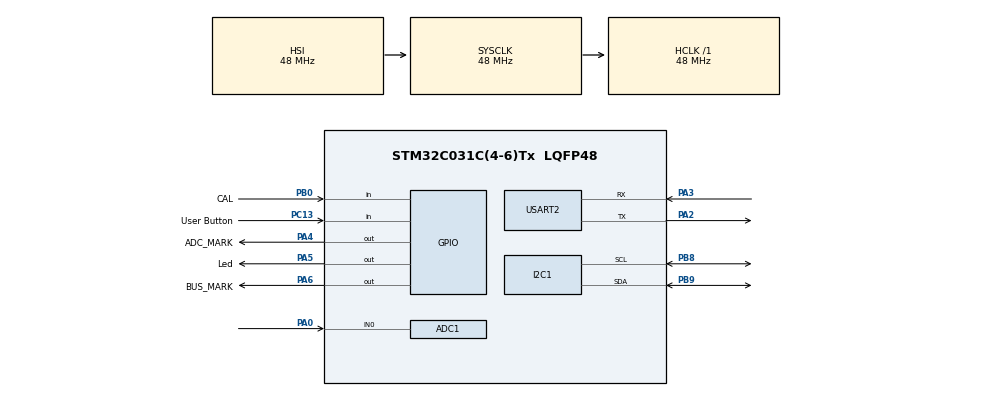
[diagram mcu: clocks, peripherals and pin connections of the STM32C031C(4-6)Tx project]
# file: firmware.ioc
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I2C1.Timing=0x20303E5D
Mcu.Family=STM32C0
Mcu.Name=STM32C031C(4-6)Tx
Mcu.Package=LQFP48
NVIC.EXTI4_15_IRQn=false\:0\:0\:false\:false\:true\:true\:true\:true
PA13.Mode=Serial_Wire
PA13.Signal=DEBUG_SWDIO
PA14-BOOT0.Mode=Serial_Wire
PA14-BOOT0.Signal=DEBUG_SWCLK
PA2.Mode=Asynchronous
PA2.Signal=USART2_TX
PA3.GPIO_PuPd=GPIO_PULLUP
PA3.Mode=Asynchronous
PA3.Signal=USART2_RX
PA5.GPIO_Label=Led
PA5.GPIO_Speed=GPIO_SPEED_FREQ_VERY_HIGH
PA5.PinState=GPIO_PIN_SET
PA5.Signal=GPIO_Output
PB8.Mode=I2C
PB8.Signal=I2C1_SCL
PB9.Mode=I2C
PB9.Signal=I2C1_SDA
PC13.GPIO_Label=User Button
PC13.Signal=GPIO_Input
PC14-OSCX_IN\ (PC14).Mode=LSE-External-Oscillator
PC14-OSCX_IN\ (PC14).Signal=RCC_OSCX_IN
PC15-OSCX_OUT\ (PC15).Mode=LSE-External-Oscillator
PC15-OSCX_OUT\ (PC15).Signal=RCC_OSCX_OUT
PF0-OSC_IN\ (PF0).Mode=HSE-External-Oscillator
PF0-OSC_IN\ (PF0).Signal=RCC_OSC_IN
PF1-OSC_OUT\ (PF1).Mode=HSE-External-Oscillator
PF1-OSC_OUT\ (PF1).Signal=RCC_OSC_OUT
ProjectManager.HeapSize=0x200
ProjectManager.StackSize=0x400
ProjectManager.TargetToolchain=Makefile
RCC.ADCFreq_Value=48000000
RCC.AHBFreq_Value=48000000
RCC.CortexFreq_Value=48000000
RCC.EXTERNAL_CLOCK_VALUE=12288000
RCC.HCLKFreq_Value=48000000
RCC.HSE_VALUE=48000000
RCC.HSISYSCLKDivider=RCC_HSI_DIV1
RCC.HSI_VALUE=48000000
RCC.SYSCLKFreq_VALUE=48000000
USART2.VirtualMode-Asynchronous=VM_ASYNC
board=NUCLEO-C031C6
PA0.Mode=IN0
PA0.Signal=ADC1_IN0
ADC1.Resolution=ADC_RESOLUTION_12B
ADC1.ClockPrescaler=ADC_CLOCK_SYNC_PCLK_DIV4
ADC1.SamplingTimeCommon1=ADC_SAMPLETIME_79CYCLES_5
PB0.Signal=GPIO_Input
PB0.GPIO_PuPd=GPIO_PULLUP
PB0.GPIO_Label=CAL
PA4.Signal=GPIO_Output
PA4.GPIO_Label=ADC_MARK
PA6.Signal=GPIO_Output
PA6.GPIO_Label=BUS_MARK
NVIC.I2C1_IRQn=true\:1\:0\:false\:false\:true\:true\:true\:true
NVIC.USART2_IRQn=true\:2\:0\:false\:false\:true\:true\:true\:true
ADC1.ScanConvMode=ADC_SCAN_SEQ_FIXED
ADC1.NbrOfConversion=1
ADC1.SamplingTimeCommon2=ADC_SAMPLETIME_79CYCLES_5

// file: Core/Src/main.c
/* USER CODE BEGIN Header */
/**
  ******************************************************************************
  * @file           : main.c
  * @brief          : Main program body
  ******************************************************************************
  * @attention
  *
  * Copyright (c) 2023 STMicroelectronics.
  * All rights reserved.
  *
  * This software is licensed under terms that can be found in the LICENSE file
  * in the root directory of this software component.
  * If no LICENSE file comes with this software, it is provided AS-IS.
  *
  ******************************************************************************
  */
/* USER CODE END Header */
#include "main.h"

/* USER CODE BEGIN Includes */

#include "board.h"
#include "perf.h"

/* USER CODE END Includes */

ADC_HandleTypeDef hadc1;
I2C_HandleTypeDef hi2c1;

UART_HandleTypeDef huart2;

void SystemClock_Config(void);
static void MX_GPIO_Init(void);
static void MX_ADC1_Init(void);
static void MX_I2C1_Init(void);
static void MX_USART2_UART_Init(void);

int main(void)
{
  /* USER CODE BEGIN 1 */
  bench_stack_paint();
  /* USER CODE END 1 */

  /* MCU Configuration--------------------------------------------------------*/

  /* Reset of all peripherals, Initializes the Flash interface and the Systick. */
  HAL_Init();

  /* Configure the system clock */
  SystemClock_Config();

  /* Initialize all configured peripherals */
  MX_GPIO_Init();
  MX_I2C1_Init();
  MX_USART2_UART_Init();
  MX_ADC1_Init();
  /* USER CODE BEGIN 2 */

  bench_init();

  /* USER CODE END 2 */

  /* Infinite loop */
  while (1)
  {

    /* USER CODE BEGIN 3 */
    bench_step();
    /* Busy polling is intentional; CPU load is unavailable in this candidate. */
  }
  /* USER CODE END 3 */
}

void SystemClock_Config(void)
{
  RCC_OscInitTypeDef RCC_OscInitStruct = {0};
  RCC_ClkInitTypeDef RCC_ClkInitStruct = {0};

  /** Initializes the RCC Oscillators according to the specified parameters
  * in the RCC_OscInitTypeDef structure.
  */
  RCC_OscInitStruct.OscillatorType = RCC_OSCILLATORTYPE_HSI;
  RCC_OscInitStruct.HSIState = RCC_HSI_ON;
  RCC_OscInitStruct.HSIDiv = RCC_HSI_DIV1;
  RCC_OscInitStruct.HSICalibrationValue = RCC_HSICALIBRATION_DEFAULT;
  if (HAL_RCC_OscConfig(&RCC_OscInitStruct) != HAL_OK)
  {
    Error_Handler();
  }

  /** Initializes the CPU, AHB and APB buses clocks
  */
  RCC_ClkInitStruct.ClockType = RCC_CLOCKTYPE_HCLK|RCC_CLOCKTYPE_SYSCLK
                              |RCC_CLOCKTYPE_PCLK1;
  RCC_ClkInitStruct.SYSCLKSource = RCC_SYSCLKSOURCE_HSI;
  RCC_ClkInitStruct.SYSCLKDivider = RCC_SYSCLK_DIV1;
  RCC_ClkInitStruct.AHBCLKDivider = RCC_HCLK_DIV1;
  RCC_ClkInitStruct.APB1CLKDivider = RCC_APB1_DIV1;

  if (HAL_RCC_ClockConfig(&RCC_ClkInitStruct, FLASH_LATENCY_1) != HAL_OK)
  {
    Error_Handler();
  }
}

static void MX_I2C1_Init(void)
{

  hi2c1.Instance = I2C1;
  hi2c1.Init.Timing = 0x20303E5D;
  hi2c1.Init.OwnAddress1 = 0;
  hi2c1.Init.AddressingMode = I2C_ADDRESSINGMODE_7BIT;
  hi2c1.Init.DualAddressMode = I2C_DUALADDRESS_DISABLE;
  hi2c1.Init.OwnAddress2 = 0;
  hi2c1.Init.OwnAddress2Masks = I2C_OA2_NOMASK;
  hi2c1.Init.GeneralCallMode = I2C_GENERALCALL_DISABLE;
  hi2c1.Init.NoStretchMode = I2C_NOSTRETCH_DISABLE;
  if (HAL_I2C_Init(&hi2c1) != HAL_OK)
  {
    Error_Handler();
  }

  /** Configure Analogue filter
  */
  if (HAL_I2CEx_ConfigAnalogFilter(&hi2c1, I2C_ANALOGFILTER_ENABLE) != HAL_OK)
  {
    Error_Handler();
  }

  /** Configure Digital filter
  */
  if (HAL_I2CEx_ConfigDigitalFilter(&hi2c1, 0) != HAL_OK)
  {
    Error_Handler();
  }

}

static void MX_USART2_UART_Init(void)
{

  huart2.Instance = USART2;
  huart2.Init.BaudRate = 115200;
  huart2.Init.WordLength = UART_WORDLENGTH_8B;
  huart2.Init.StopBits = UART_STOPBITS_1;
  huart2.Init.Parity = UART_PARITY_NONE;
  huart2.Init.Mode = UART_MODE_TX_RX;
  huart2.Init.HwFlowCtl = UART_HWCONTROL_NONE;
  huart2.Init.OverSampling = UART_OVERSAMPLING_16;
  huart2.Init.OneBitSampling = UART_ONE_BIT_SAMPLE_DISABLE;
  huart2.Init.ClockPrescaler = UART_PRESCALER_DIV1;
  huart2.AdvancedInit.AdvFeatureInit = UART_ADVFEATURE_NO_INIT;
  if (HAL_UART_Init(&huart2) != HAL_OK)
  {
    Error_Handler();
  }

}

static void MX_GPIO_Init(void)
{
  GPIO_InitTypeDef GPIO_InitStruct = {0};

  /* GPIO Ports Clock Enable */
  __HAL_RCC_GPIOC_CLK_ENABLE();
  __HAL_RCC_GPIOF_CLK_ENABLE();
  __HAL_RCC_GPIOA_CLK_ENABLE();
  __HAL_RCC_GPIOB_CLK_ENABLE();

  /*Configure GPIO pin Output Level */
  HAL_GPIO_WritePin(Led_GPIO_Port, Led_Pin, GPIO_PIN_SET);

  /*Configure GPIO pin : User_Button_Pin */
  GPIO_InitStruct.Pin = User_Button_Pin;
  GPIO_InitStruct.Mode = GPIO_MODE_INPUT;
  GPIO_InitStruct.Pull = GPIO_NOPULL;
  HAL_GPIO_Init(User_Button_GPIO_Port, &GPIO_InitStruct);

  /*Configure GPIO pin : Led_Pin */
  GPIO_InitStruct.Pin = Led_Pin;
  GPIO_InitStruct.Mode = GPIO_MODE_OUTPUT_PP;
  GPIO_InitStruct.Pull = GPIO_NOPULL;
  GPIO_InitStruct.Speed = GPIO_SPEED_FREQ_VERY_HIGH;
  HAL_GPIO_Init(Led_GPIO_Port, &GPIO_InitStruct);

  /* EXTI interrupt init*/

/* USER CODE BEGIN MX_GPIO_Init_2 */
  GPIO_InitStruct.Pin = CAL_PIN;
  GPIO_InitStruct.Mode = GPIO_MODE_INPUT;
  GPIO_InitStruct.Pull = GPIO_PULLUP;
  HAL_GPIO_Init(CAL_PORT, &GPIO_InitStruct);
  GPIO_InitStruct.Pin = ADC_MARK_PIN | BUS_MARK_PIN;
  GPIO_InitStruct.Mode = GPIO_MODE_OUTPUT_PP;
  GPIO_InitStruct.Pull = GPIO_NOPULL;
  GPIO_InitStruct.Speed = GPIO_SPEED_FREQ_LOW;
  HAL_GPIO_Init(GPIOA, &GPIO_InitStruct);
/* USER CODE END MX_GPIO_Init_2 */
}

/* USER CODE BEGIN ADC1_Init */
static void MX_ADC1_Init(void)
{
  ADC_ChannelConfTypeDef channel = {0};
  __HAL_RCC_ADC_CLK_ENABLE();
  GPIO_InitTypeDef gpio = {0};
  gpio.Pin = GPIO_PIN_0;
  gpio.Mode = GPIO_MODE_ANALOG;
  gpio.Pull = GPIO_NOPULL;
  HAL_GPIO_Init(GPIOA, &gpio);
  hadc1.Instance = ADC1;
  hadc1.Init.ClockPrescaler = ADC_CLOCK_SYNC_PCLK_DIV4;
  hadc1.Init.Resolution = ADC_RESOLUTION_12B;
  hadc1.Init.DataAlign = ADC_DATAALIGN_RIGHT;
  hadc1.Init.ScanConvMode = ADC_SCAN_SEQ_FIXED;
  hadc1.Init.EOCSelection = ADC_EOC_SINGLE_CONV;
  hadc1.Init.NbrOfConversion = 1;
  hadc1.Init.ExternalTrigConv = ADC_SOFTWARE_START;
  hadc1.Init.ExternalTrigConvEdge = ADC_EXTERNALTRIGCONVEDGE_NONE;
  hadc1.Init.Overrun = ADC_OVR_DATA_OVERWRITTEN;
  hadc1.Init.SamplingTimeCommon1 = ADC_SAMPLETIME_79CYCLES_5;
  hadc1.Init.SamplingTimeCommon2 = ADC_SAMPLETIME_79CYCLES_5;
  hadc1.Init.TriggerFrequencyMode = ADC_TRIGGER_FREQ_HIGH;
  if (HAL_ADC_Init(&hadc1) != HAL_OK) Error_Handler();
  channel.Channel = ADC_CHANNEL_0;
  channel.Rank = ADC_RANK_CHANNEL_NUMBER;
  channel.SamplingTime = ADC_SAMPLINGTIME_COMMON_1;
  if (HAL_ADC_ConfigChannel(&hadc1, &channel) != HAL_OK) Error_Handler();
}
/* USER CODE END ADC1_Init */

void Error_Handler(void)
{
  __disable_irq();
  while (1)
  {
  }
}
